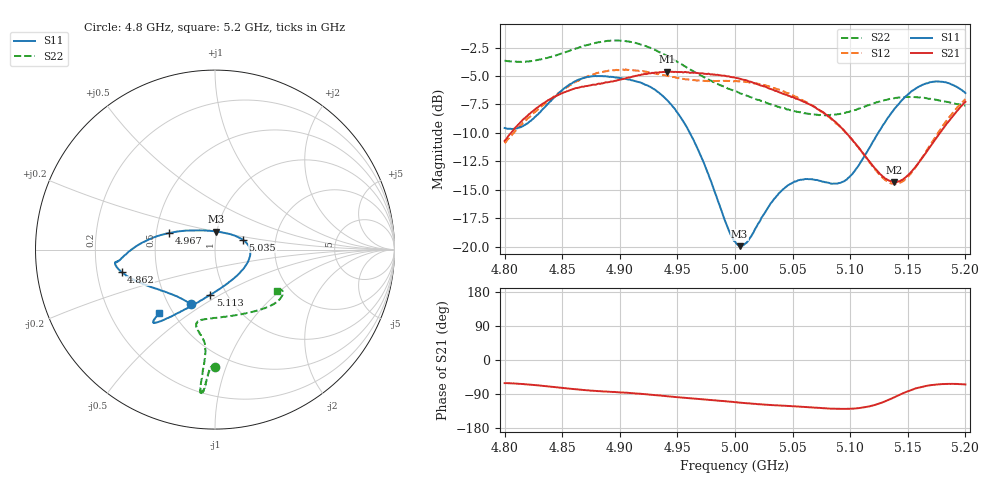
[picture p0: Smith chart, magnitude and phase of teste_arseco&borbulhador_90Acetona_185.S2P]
! Network Analyzer HP8722D
! Hewlett-Packard
! Data name: Linha & Wilkinson
! Saver's name: Rodrigo Anjos
! Comments: Teste da utilização de aquisição
! continua pelo VNA HP8722D
! Time and date: 17/4/2025 12:35
!  Frequency  S11  S21  S12  S22
# HZ  S  MA R 50
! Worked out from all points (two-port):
!   401 points, 4.8 GHz to 5.2 GHz, reference 50 ohm
!   highest |S21| = -4.62 dB at 4.941 GHz (marker M1); lowest = -14.3 dB at 5.138 GHz (marker M2)
!   |S21| within 3 dB of the highest: 4.83 GHz to 5.067 GHz (236.7 MHz wide, 4.78 % of centre); 5.196698 GHz to end of sweep
!   lowest |S11| = -20.0 dB at 5.004 GHz (marker M3), VSWR 1.22, Z = 49.8 + j10.1 ohm
!   |S11| at or under -10 dB: 4.961 GHz to 5.124 GHz (163.4 MHz wide, 3.24 % of centre)
!   |S22| runs from -8.5 to -1.9 dB; largest |S21 - S12| = 0.88
!   S11 on the Smith chart (normalised r, x): 4.8 GHz: 0.65, -0.44; 4.862 GHz: 0.31, -0.11; 4.967 GHz: 0.58, +0.12; 5.035 GHz: 1.35, +0.16; 5.113 GHz: 0.84, -0.45; 5.2 GHz: 0.42, -0.39
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4.8e9  0.3324 -113.8  0.2913 -61.0  0.2851 -175.2  0.6567 -89.9
4.819e9  0.3465 -134.0  0.373 -64.4  0.3611 -173.8  0.6513 -91.5
4.862e9  0.5355 -166.5  0.4979 -77.2  0.5305 -177.2  0.7432 -93.9
4.867e9  0.5477 -168.4  0.5045 -78.8  0.5446 -177.9  0.7578 -94.0
4.9e9  0.5507 -173.0  0.5412 -85.4  0.5978 175.5  0.804 -95.6
4.934e9  0.4748 -179.1  0.5829 -93.7  0.5743 171.7  0.7171 -96.0
4.941e9  0.4412 177.7  0.5876 -95.6  0.5632 171.6  0.6896 -95.8
4.955e9  0.3559 169.7  0.5825 -99.5  0.5461 172.4  0.6264 -95.3
4.967e9  0.2736 160.3  0.5795 -102.5  0.5363 173.8  0.5775 -95.3
5e9  0.1053 99.4  0.5528 -111.3  0.5341 176.1  0.4816 -99.4
5.004e9  0.1006 85.6  0.5468 -112.4  0.5329 175.9  0.4728 -100.4
5.012e9  0.1071 60.2  0.532 -114.4  0.5276 175.8  0.4575 -102.1
5.035e9  0.1641 19.9  0.4834 -119.4  0.4952 174.7  0.4159 -103.8
5.05e9  0.191 4.5  0.4551 -122.1  0.4624 173.8  0.3964 -99.8
5.067e9  0.1981 -13.7  0.4165 -125.0  0.418 173.5  0.3814 -91.1
5.093e9  0.1924 -58.1  0.3308 -128.9  0.3289 173.9  0.3853 -70.8
5.113e9  0.2534 -95.7  0.2503 -124.5  0.2498 180.0  0.4138 -55.1
5.134e9  0.3757 -117.1  0.1948 -104.3  0.1913 -157.2  0.4457 -43.2
5.138e9  0.401 -119.4  0.1921 -98.7  0.1892 -151.0  0.4487 -41.3
5.151e9  0.4706 -125.1  0.2081 -81.3  0.2054 -130.8  0.4551 -36.5
5.17e9  0.5283 -129.5  0.2776 -66.4  0.2823 -112.6  0.446 -32.1
5.2e9  0.4733 -131.2  0.4331 -64.5  0.4449 -106.5  0.4167 -33.5
